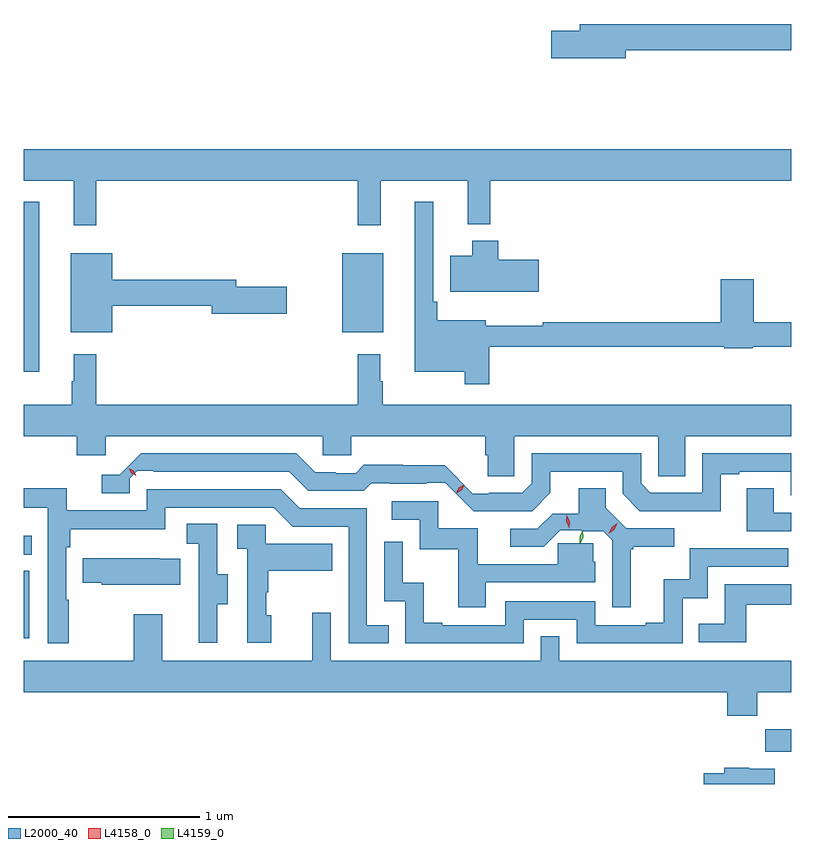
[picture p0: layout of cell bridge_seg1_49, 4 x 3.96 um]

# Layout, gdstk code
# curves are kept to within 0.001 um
import gdstk
lib = gdstk.Library(unit=1e-6, precision=1e-09)
def R(c, l, rs):  # rectangles x0, y0, x1, y1
    for r in rs: c.add(gdstk.rectangle(r[:2], r[2:], *l))
def P(c, l, *ps):  # polygons
    for p in ps: c.add(gdstk.Polygon(p, *l))
L2000_40 = (2000, 40)
L4158_0 = (4158, 0)
L4159_0 = (4159, 0)

bridge_seg1_49 = lib.new_cell('bridge_seg1_49')
R(bridge_seg1_49, L2000_40, [(1117.498,528.776,1117.635,528.895), (1113.635,529.368,1113.664,529.719), (1113.635,529.804,1113.677,529.903), (1113.635,530.756,1113.718,531.643), (1115.294,530.963,1115.509,531.373)])
P(bridge_seg1_49, L2000_40, [(1116.772,532.432),(1117.635,532.432),(1117.635,532.568),(1116.533,532.568),(1116.533,532.532),(1116.384,532.532),(1116.384,532.39),(1116.772,532.39)],
  [(1114.013,531.752),(1115.377,531.752),(1115.377,531.519),(1115.495,531.519),(1115.495,531.752),(1115.948,531.752),(1115.948,531.524),(1116.065,531.524),(1116.065,531.752),(1117.635,531.752),(1117.635,531.916),(1113.635,531.916),(1113.635,531.752),(1113.896,531.752),(1113.896,531.519),(1114.013,531.519)],
  [(1116.062,530.886),(1117.284,530.886),(1117.284,530.878),(1117.434,530.878),(1117.434,530.886),(1117.635,530.886),(1117.635,531.014),(1117.438,531.014),(1117.438,531.238),(1117.268,531.238),(1117.268,531.014),(1116.339,531.014),(1116.339,530.995),(1116.043,530.995),(1116.043,531.025),(1115.789,531.025),(1115.789,531.121),(1115.769,531.121),(1115.769,531.643),(1115.672,531.643),(1115.672,530.756),(1115.934,530.756),(1115.934,530.691),(1116.062,530.691)],
  [(1116.319,531.339),(1116.107,531.339),(1116.107,531.439),(1115.972,531.439),(1115.972,531.361),(1115.858,531.361),(1115.858,531.173),(1116.319,531.173)],
  [(1114.096,531.1),(1114.616,531.1),(1114.616,531.058),(1115.005,531.058),(1115.005,531.2),(1114.744,531.2),(1114.744,531.236),(1114.096,531.236),(1114.096,531.373),(1113.881,531.373),(1113.881,530.963),(1114.096,530.963)],
  [(1116.192,530.42),(1116.942,530.42),(1116.942,530.212),(1117.081,530.212),(1117.081,530.42),(1117.635,530.42),(1117.635,530.584),(1115.506,530.584),(1115.506,530.708),(1115.494,530.708),(1115.494,530.848),(1115.377,530.848),(1115.377,530.584),(1114.013,530.584),(1114.013,530.848),(1113.896,530.848),(1113.896,530.708),(1113.885,530.708),(1113.885,530.584),(1113.635,530.584),(1113.635,530.42),(1113.911,530.42),(1113.911,530.321),(1114.063,530.321),(1114.063,530.42),(1115.193,530.42),(1115.193,530.322),(1115.343,530.322),(1115.343,530.42),(1116.041,530.42),(1116.041,530.322),(1116.053,530.322),(1116.053,530.212),(1116.192,530.212)],
  [(1117.267,530.223),(1117.363,530.223),(1117.363,530.235),(1117.632,530.235),(1117.632,530.112),(1117.635,530.112),(1117.635,530.331),(1117.17,530.331),(1117.17,530.127),(1116.9,530.127),(1116.852,530.175),(1116.852,530.331),(1116.282,530.331),(1116.282,530.175),(1116.234,530.127),(1116.057,530.127),(1116.057,530.121),(1115.976,530.121),(1115.828,530.269),(1115.611,530.269),(1115.611,530.272),(1115.407,530.272),(1115.365,530.229),(1115.262,530.229),(1115.262,530.232),(1115.155,530.232),(1115.056,530.331),(1114.248,530.331),(1114.137,530.22),(1114.041,530.22),(1114.041,530.124),(1114.188,530.124),(1114.188,530.201),(1114.228,530.241),(1114.313,530.241),(1114.313,530.235),(1115.019,530.235),(1115.118,530.136),(1115.407,530.136),(1115.446,530.175),(1115.545,530.175),(1115.545,530.172),(1115.735,530.172),(1115.735,530.178),(1115.832,530.178),(1115.979,530.031),(1116.285,530.031),(1116.379,530.125),(1116.379,530.235),(1116.756,530.235),(1116.756,530.121),(1116.846,530.031),(1117.267,530.03)],
  [(1117.635,530.022),(1117.543,530.022),(1117.543,530.15),(1117.403,530.15),(1117.403,529.926),(1117.635,529.926)],
  [(1116.799,529.833),(1116.811,529.833),(1116.811,529.844),(1117.024,529.844),(1117.024,529.941),(1116.774,529.941),(1116.667,530.048),(1116.667,530.15),(1116.527,530.15),(1116.527,530.018),(1116.392,530.018),(1116.312,529.938),(1116.171,529.938),(1116.171,529.845),(1116.346,529.845),(1116.431,529.931),(1116.543,529.931),(1116.543,529.926),(1116.656,529.926),(1116.702,529.88),(1116.702,529.53),(1116.799,529.53)],
  [(1113.871,529.568),(1113.858,529.568),(1113.858,529.841),(1113.878,529.841),(1113.878,529.937),(1114.374,529.937),(1114.374,530.049),(1114.938,530.049),(1115.037,529.95),(1115.328,529.95),(1115.328,529.341),(1115.537,529.341),(1115.537,529.437),(1115.424,529.437),(1115.424,530.046),(1115.074,530.046),(1114.975,530.145),(1114.278,530.145),(1114.278,530.034),(1113.86,530.034),(1113.86,530.15),(1113.635,530.15),(1113.635,530.048),(1113.762,530.048),(1113.762,529.341),(1113.871,529.341)],
  [(1116.043,529.659),(1116.613,529.659),(1116.613,529.767),(1116.602,529.767),(1116.602,529.864),(1116.418,529.864),(1116.418,529.755),(1116.001,529.755),(1116.001,529.941),(1115.796,529.941),(1115.796,530.082),(1115.553,530.082),(1115.553,529.986),(1115.7,529.986),(1115.7,529.833),(1115.899,529.833),(1115.899,529.53),(1116.043,529.53)],
  [(1114.645,529.546),(1114.699,529.546),(1114.699,529.701),(1114.644,529.701),(1114.644,529.964),(1114.485,529.964),(1114.485,529.861),(1114.548,529.861),(1114.548,529.557),(1114.547,529.557),(1114.547,529.344),(1114.645,529.344)],
  [(1114.924,529.488),(1114.899,529.488),(1114.899,529.607),(1114.909,529.607),(1114.909,529.721),(1115.243,529.721),(1115.243,529.861),(1114.896,529.861),(1114.896,529.959),(1114.749,529.959),(1114.749,529.835),(1114.8,529.835),(1114.8,529.344),(1114.924,529.344)],
  [(1116.24,529.464),(1116.516,529.464),(1116.516,529.341),(1117.068,529.341),(1117.068,529.577),(1117.2,529.577),(1117.2,529.74),(1117.619,529.74),(1117.619,529.836),(1117.104,529.836),(1117.104,529.675),(1116.971,529.675),(1116.971,529.45),(1116.875,529.45),(1116.875,529.437),(1116.612,529.437),(1116.612,529.56),(1116.144,529.56),(1116.144,529.437),(1115.815,529.437),(1115.815,529.45),(1115.72,529.45),(1115.72,529.658),(1115.61,529.658),(1115.61,529.87),(1115.514,529.87),(1115.514,529.56),(1115.622,529.56),(1115.622,529.341),(1116.24,529.341)],
  [(1114.451,529.783),(1114.343,529.783),(1114.343,529.786),(1113.943,529.786),(1113.943,529.657),(1114.041,529.657),(1114.041,529.646),(1114.451,529.646)],
  [(1117.399,529.542),(1117.635,529.542),(1117.635,529.65),(1117.288,529.65),(1117.288,529.444),(1117.153,529.444),(1117.153,529.347),(1117.399,529.347)],
  [(1115.138,529.501),(1115.138,529.252),(1114.357,529.252),(1114.357,529.492),(1114.21,529.492),(1114.21,529.252),(1113.635,529.252),(1113.635,529.088),(1117.301,529.088),(1117.301,528.964),(1117.457,528.964),(1117.457,529.088),(1117.635,529.088),(1117.635,529.252),(1116.426,529.252),(1116.426,529.379),(1116.33,529.379),(1116.33,529.252),(1115.235,529.252),(1115.235,529.501)],
  [(1117.549,528.688),(1117.416,528.688),(1117.416,528.694),(1117.286,528.694),(1117.286,528.666),(1117.179,528.666),(1117.179,528.609),(1117.549,528.609)])
P(bridge_seg1_49, L4158_0, [(1114.222,530.216),(1114.196,530.228),(1114.184,530.255),(1114.184,530.255),(1114.184,530.255),(1114.21,530.242),(1114.222,530.216),(1114.222,530.216)],
  [(1115.889,530.123),(1115.889,530.123),(1115.902,530.152),(1115.93,530.167),(1115.93,530.167),(1115.93,530.167),(1115.917,530.138),(1115.889,530.123)],
  [(1116.684,529.915),(1116.684,529.915),(1116.698,529.947),(1116.727,529.967),(1116.727,529.967),(1116.727,529.966),(1116.713,529.934),(1116.685,529.915)],
  [(1116.477,529.942),(1116.477,529.943),(1116.461,529.975),(1116.465,530.01),(1116.465,530.011),(1116.465,530.01),(1116.481,529.978),(1116.477,529.943)])
P(bridge_seg1_49, L4159_0, [(1116.533,529.86),(1116.533,529.861),(1116.531,529.898),(1116.548,529.932),(1116.548,529.932),(1116.549,529.932),(1116.551,529.894),(1116.534,529.861)])

lib.write_gds('bridge_seg1_49.gds')
